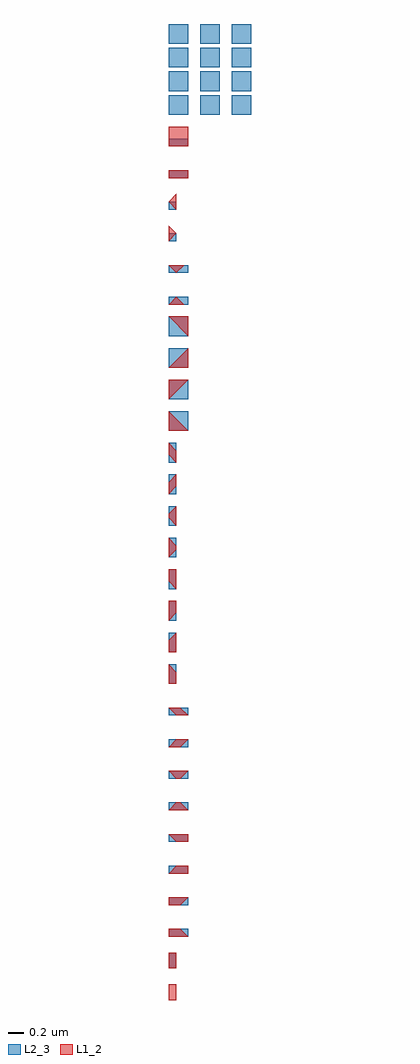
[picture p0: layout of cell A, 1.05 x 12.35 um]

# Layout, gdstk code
import gdstk
lib = gdstk.Library(unit=1e-6, precision=1e-09)
def R(c, l, rs):  # rectangles x0, y0, x1, y1
    for r in rs: c.add(gdstk.rectangle(r[:2], r[2:], *l))
def A(c, l, x, y, w, h, nx, ny, dx, dy):  # array of equal rectangles
    R(c, l, [(x+i*dx, y+j*dy, x+i*dx+w, y+j*dy+h) for i in range(nx) for j in range(ny)])
def P(c, l, *ps):  # polygons
    for p in ps: c.add(gdstk.Polygon(p, *l))
L1_2 = (1, 2)
L2_3 = (2, 3)

c_a = lib.new_cell('A')
R(c_a, L1_2, [(-0.1,0.2,0,0.4), (-0.1,0.6,0,0.8), (-0.1,10.6,0.15,10.7), (-0.1,11,0.15,11.25)])
P(c_a, L1_2, [(-0.1,1),(-0.1,1.1),(0.05,1.1),(0.15,1)],
  [(-0.1,1.4),(-0.1,1.5),(0.15,1.5),(0.05,1.4)],
  [(-0.1,1.8),(0,1.9),(0.15,1.9),(0.15,1.8)],
  [(0,2.2),(-0.1,2.3),(0.15,2.3),(0.15,2.2)],
  [(-0.1,2.6),(0,2.7),(0.05,2.7),(0.15,2.6)],
  [(0,3),(-0.1,3.1),(0.15,3.1),(0.05,3)],
  [(-0.1,3.4),(0,3.5),(0.15,3.5),(0.05,3.4)],
  [(0,3.8),(-0.1,3.9),(0.05,3.9),(0.15,3.8)],
  [(-0.1,4.2),(-0.1,4.45),(0,4.35),(0,4.2)],
  [(-0.1,4.6),(-0.1,4.75),(0,4.85),(0,4.6)],
  [(-0.1,5),(-0.1,5.25),(0,5.25),(0,5.1)],
  [(-0.1,5.5),(-0.1,5.65),(0,5.65),(0,5.4)],
  [(-0.1,5.8),(-0.1,6.05),(0,5.95),(0,5.9)],
  [(-0.1,6.3),(-0.1,6.35),(0,6.45),(0,6.2)],
  [(-0.1,6.6),(-0.1,6.75),(0,6.85),(0,6.7)],
  [(-0.1,7.1),(-0.1,7.25),(0,7.15),(0,7)],
  [(-0.1,7.4),(-0.1,7.65),(0.15,7.4)],
  [(-0.1,7.8),(-0.1,8.05),(0.15,8.05)],
  [(-0.1,8.2),(0.15,8.45),(0.15,8.2)],
  [(-0.1,8.85),(0.15,8.85),(0.15,8.6)],
  [(-0.1,9),(0,9.1),(0.1,9)],
  [(-0.1,9.5),(0.1,9.5),(0,9.4)],
  [(-0.1,9.8),(-0.1,10),(0,9.9)],
  [(0,10.2),(-0.1,10.3),(0,10.4)])
A(c_a, L2_3, -0.1, 1, 0.25, 0.1, 1, 8, 0, 0.4)
A(c_a, L2_3, -0.1, 4.2, 0.1, 0.25, 1, 8, 0, 0.4)
A(c_a, L2_3, -0.1, 7.4, 0.25, 0.25, 1, 4, 0, 0.4)
A(c_a, L2_3, -0.1, 11.4, 0.25, 0.25, 3, 4, 0.4, 0.3)
R(c_a, L2_3, [(-0.1,0.6,0,0.8), (-0.1,9,0.15,9.1), (-0.1,9.4,0.15,9.5), (-0.1,9.8,0,9.9), (-0.1,10.2,0,10.3), (-0.1,10.6,0.15,10.7), (-0.1,11,0.15,11.1)])

lib.write_gds('A.gds')
